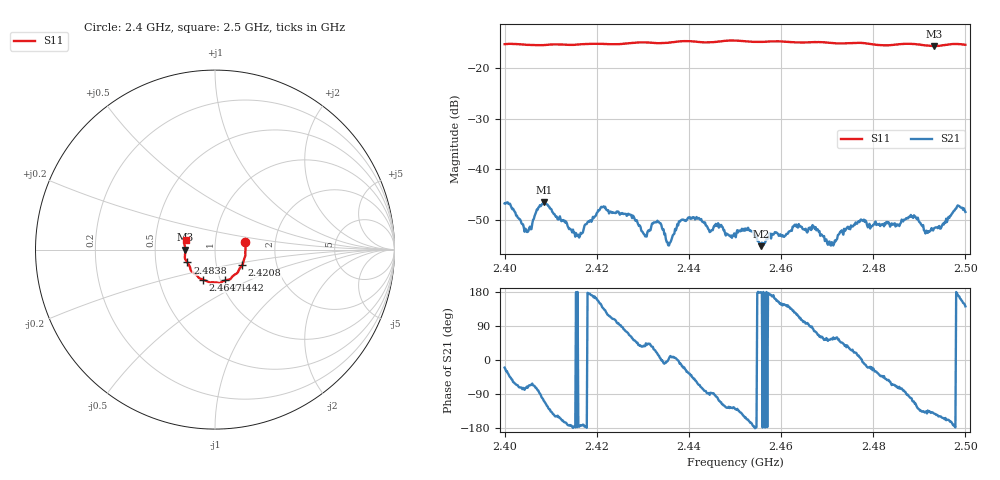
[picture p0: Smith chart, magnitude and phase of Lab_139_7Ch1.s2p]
# Hz S RI R 50
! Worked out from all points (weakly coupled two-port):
!   601 points, 2.4 GHz to 2.5 GHz, reference 50 ohm
!   highest |S21| = -46.46 dB at 2.4085 GHz (marker M1); lowest = -55.2 dB at 2.4557 GHz (marker M2)
!   lowest |S11| = -15.6 dB at 2.4932 GHz (marker M3), VSWR 1.40, Z = 35.8 - j0.0793 ohm
!   |S11| at or under -10 dB: start of sweep to end of sweep
!   S12 and S22 are empty: the file has one direction only
!   S11 on the Smith chart (normalised r, x): 2.4 GHz: 1.40, +0.12; 2.4208 GHz: 1.33, -0.24; 2.4442 GHz: 1.05, -0.37; 2.4647 GHz: 0.83, -0.29; 2.4838 GHz: 0.73, -0.11; 2.5 GHz: 0.72, +0.08
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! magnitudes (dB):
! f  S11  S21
! 2.4 GHz  -15.2  -46.7
! 2.4048 GHz  -15.4  -52.3
! 2.4085 GHz  -15.4  -46.5
! 2.4167 GHz  -15.3  -52.7
! 2.4208 GHz  -15.2  -47.5
! 2.4275 GHz  -15.0  -49.0
! 2.4303 GHz  -14.9  -52.8
! 2.4333 GHz  -15.0  -50.4
! 2.4357 GHz  -14.9  -55.0
! 2.4383 GHz  -14.7  -50.0
! 2.4442 GHz  -14.9  -51.7
! 2.45 GHz  -14.5  -53.0
! 2.4557 GHz  -14.8  -55.2
! 2.4647 GHz  -14.9  -51.8
! 2.4667 GHz  -14.8  -51.8
! 2.471 GHz  -15.0  -54.4
! 2.4773 GHz  -15.0  -49.9
! 2.4833 GHz  -15.5  -50.4
! 2.4838 GHz  -15.4  -50.8
! 2.4887 GHz  -15.2  -49.6
! 2.4932 GHz  -15.6  -51.6
! 2.5 GHz  -15.3  -48.4
